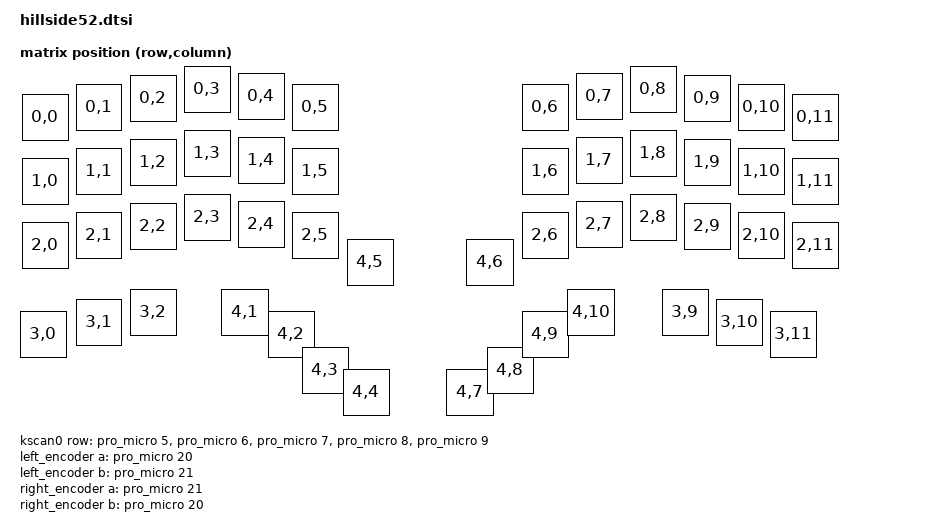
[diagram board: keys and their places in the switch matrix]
/*
 * Copyright (c) 2021-2022 The ZMK Contributors
 *
 * SPDX-License-Identifier: MIT
 */

#include <dt-bindings/zmk/matrix_transform.h>
#include <physical_layouts.dtsi>

/ {
    chosen {
        zmk,kscan = &kscan0;
        zmk,physical-layout = &hillside52_layout;
    };

    default_transform: keymap_transform_0 {
        compatible = "zmk,matrix-transform";
        columns = <12>;
        rows = <5>;
// | SW1  | SW2  | SW3  | SW4  | SW5  | SW6  |                                   | SW6  | SW5  | SW4  | SW3  | SW2  | SW1  |
// | SW7  | SW8  | SW9  | SW10 | SW11 | SW12 |                                   | SW12 | SW11 | SW10 | SW9  | SW8  | SW7  |
// | SW13 | SW14 | SW15 | SW16 | SW17 | SW18 / SW19 /                     \ SW19 \ SW18 | SW17 | SW16 | SW15 | SW14 | SW13 |
// | SW20 | SW21 | SW22    | SW23 / SW24 / SW25 / SW26 /               \ SW26 \ SW25 \ SW24 \ SW23 |    SW22 | SW21 | SW20 |
        map = <
RC(0,0) RC(0,1) RC(0,2) RC(0,3) RC(0,4) RC(0,5)                                   RC(0,6) RC(0,7) RC(0,8) RC(0,9) RC(0,10) RC(0,11)
RC(1,0) RC(1,1) RC(1,2) RC(1,3) RC(1,4) RC(1,5)                                   RC(1,6) RC(1,7) RC(1,8) RC(1,9) RC(1,10) RC(1,11)
RC(2,0) RC(2,1) RC(2,2) RC(2,3) RC(2,4) RC(2,5) RC(4,5)                   RC(4,6) RC(2,6) RC(2,7) RC(2,8) RC(2,9) RC(2,10) RC(2,11)
RC(3,0) RC(3,1) RC(3,2)         RC(4,1) RC(4,2) RC(4,3) RC(4,4)   RC(4,7) RC(4,8) RC(4,9) RC(4,10)        RC(3,9) RC(3,10) RC(3,11)
        >;
    };


    hillside52_layout: hillside52_layout {
        compatible = "zmk,physical-layout";
        display-name = "Hillside 52";
        transform = <&default_transform>;

        keys  //                     w   h    x    y     rot    rx    ry
            = <&key_physical_attrs 100 100   10   66       0     0     0>
            , <&key_physical_attrs 100 100  118   46       0     0     0>
            , <&key_physical_attrs 100 100  226   28       0     0     0>
            , <&key_physical_attrs 100 100  334   10       0     0     0>
            , <&key_physical_attrs 100 100  442   24       0     0     0>
            , <&key_physical_attrs 100 100  550   46       0     0     0>
            , <&key_physical_attrs 100 100 1010   46       0     0     0>
            , <&key_physical_attrs 100 100 1118   24       0     0     0>
            , <&key_physical_attrs 100 100 1226   10       0     0     0>
            , <&key_physical_attrs 100 100 1334   28       0     0     0>
            , <&key_physical_attrs 100 100 1442   46       0     0     0>
            , <&key_physical_attrs 100 100 1550   66       0     0     0>

            , <&key_physical_attrs 100 100   10  194       0     0     0>
            , <&key_physical_attrs 100 100  118  174       0     0     0>
            , <&key_physical_attrs 100 100  226  156       0     0     0>
            , <&key_physical_attrs 100 100  334  138       0     0     0>
            , <&key_physical_attrs 100 100  442  152       0     0     0>
            , <&key_physical_attrs 100 100  550  174       0     0     0>
            , <&key_physical_attrs 100 100 1010  174       0     0     0>
            , <&key_physical_attrs 100 100 1118  152       0     0     0>
            , <&key_physical_attrs 100 100 1226  138       0     0     0>
            , <&key_physical_attrs 100 100 1334  156       0     0     0>
            , <&key_physical_attrs 100 100 1442  174       0     0     0>
            , <&key_physical_attrs 100 100 1550  194       0     0     0>

            , <&key_physical_attrs 100 100   10  322       0     0     0>
            , <&key_physical_attrs 100 100  118  302       0     0     0>
            , <&key_physical_attrs 100 100  226  284       0     0     0>
            , <&key_physical_attrs 100 100  334  266       0     0     0>
            , <&key_physical_attrs 100 100  442  280       0     0     0>
            , <&key_physical_attrs 100 100  550  302       0     0     0>
            , <&key_physical_attrs 100 100  660  356       0     0     0>
            , <&key_physical_attrs 100 100  900  356       0     0     0>
            , <&key_physical_attrs 100 100 1010  302       0     0     0>
            , <&key_physical_attrs 100 100 1118  280       0     0     0>
            , <&key_physical_attrs 100 100 1226  266       0     0     0>
            , <&key_physical_attrs 100 100 1334  284       0     0     0>
            , <&key_physical_attrs 100 100 1442  302       0     0     0>
            , <&key_physical_attrs 100 100 1550  322       0     0     0>

            , <&key_physical_attrs 100 100    6  500       0     0     0>
            , <&key_physical_attrs 100 100  118  476       0     0     0>
            , <&key_physical_attrs 100 100  226  456       0     0     0>
            , <&key_physical_attrs 100 100  410  456       0     0     0>
            , <&key_physical_attrs 100 100  502  500       0     0     0>
            , <&key_physical_attrs 100 100  570  572       0     0     0>
            , <&key_physical_attrs 100 100  652  616       0     0     0>
            , <&key_physical_attrs 100 100  860  616       0     0     0>
            , <&key_physical_attrs 100 100  940  572       0     0     0>
            , <&key_physical_attrs 100 100 1010  500       0     0     0>
            , <&key_physical_attrs 100 100 1102  456       0     0     0>
            , <&key_physical_attrs 100 100 1290  456       0     0     0>
            , <&key_physical_attrs 100 100 1398  476       0     0     0>
            , <&key_physical_attrs 100 100 1506  500       0     0     0>
        ;
    };

    kscan0: kscan {
        compatible = "zmk,kscan-gpio-matrix";
        label = "KSCAN";

        diode-direction = "col2row";
        row-gpios
            = <&pro_micro 5 (GPIO_ACTIVE_HIGH | GPIO_PULL_DOWN)>
            , <&pro_micro 6 (GPIO_ACTIVE_HIGH | GPIO_PULL_DOWN)>
            , <&pro_micro 7 (GPIO_ACTIVE_HIGH | GPIO_PULL_DOWN)>
            , <&pro_micro 8 (GPIO_ACTIVE_HIGH | GPIO_PULL_DOWN)>
            , <&pro_micro 9 (GPIO_ACTIVE_HIGH | GPIO_PULL_DOWN)>
            ;
        
    };

    left_encoder: encoder_left {
            compatible = "alps,ec11";
            label = "LEFT_ENCODER";
            a-gpios = <&pro_micro 20 (GPIO_ACTIVE_HIGH | GPIO_PULL_UP)>;
            b-gpios = <&pro_micro 21 (GPIO_ACTIVE_HIGH | GPIO_PULL_UP)>;
            resolution = <4>;
            status = "disabled";
        };

    right_encoder: encoder_right {
            compatible = "alps,ec11";
            label = "RIGHT_ENCODER";
            a-gpios = <&pro_micro 21 (GPIO_ACTIVE_HIGH | GPIO_PULL_UP)>;
            b-gpios = <&pro_micro 20 (GPIO_ACTIVE_HIGH | GPIO_PULL_UP)>;
            resolution = <4>;
            status = "disabled";
        };

    sensors {
            compatible = "zmk,keymap-sensors";
            sensors = <&left_encoder &right_encoder>;
        };
    
};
